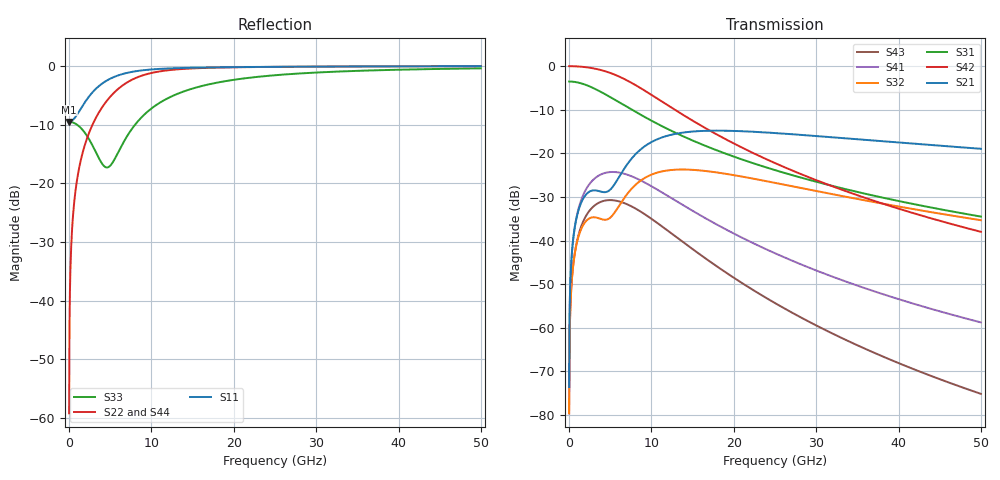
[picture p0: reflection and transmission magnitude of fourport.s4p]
! Created Wed May 30 18:34:37 2007
# hz S ri R 50
! 4 Port Network Data from SP1.SP block
! freq  reS11  imS11  reS12  imS12  reS13  imS13  reS14  imS14
!  reS21  imS21  reS22  imS22  reS23  imS23  reS24  imS24
!  reS31  imS31  reS32  imS32  reS33  imS33  reS34  imS34
!  reS41  imS41  reS42  imS42  reS43  imS43  reS44  imS44
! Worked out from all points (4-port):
!   1001 points, 10 MHz to 50 GHz, reference 50 ohm
!   strongest paths, dB at 10 MHz, 12.51 GHz, 25.01 GHz, 37.51 GHz, 50 GHz:
!     S21: -73.6, -15.7, -15.3, -17.1, -18.9
!     S42: 0.0, -9.6, -22.2, -31.2, -38.0
!     S31: -3.5, -14.9, -23.8, -29.9, -34.5
!     S32: -79.6, -23.8, -26.8, -31.3, -35.3
!     S41: -73.6, -30.3, -42.9, -51.9, -58.8
!     S43: -79.6, -38.5, -54.3, -66.1, -75.1
!   lowest |S11| = -9.5 dB at 10 MHz (marker M1), VSWR 2.00, Z = 100 - j0.628 ohm
!   |S11| at or under -10 dB: nowhere
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1e7  0.3333 -0.00279  6.69e-07 0.000209  0.6667 -0.00182  9.32e-07 0.000209
     6.69e-07 0.000209  -4.4e-06 -0.0011  4e-07 0.000105  1 -0.00236
     0.6667 -0.00182  4e-07 0.000105  0.3333 -0.000489  5.32e-07 0.000105
     9.32e-07 0.000209  1 -0.00236  5.32e-07 0.000105  -8.47e-07 -0.0011
4.6e8  0.3213 -0.1273  0.00139 0.00941  0.6583 -0.0827  0.00195 0.00938
       0.00139 0.00941  -0.00926 -0.0497  0.000829 0.00468  0.9928 -0.108
       0.6583 -0.0827  0.000829 0.00468  0.3285 -0.0219  0.00111 0.00466
       0.00195 0.00938  0.9928 -0.108  0.00111 0.00466  -0.00179 -0.0505
1.41e9  0.2283 -0.3636  0.011 0.0239  0.5934 -0.2344  0.0163 0.0228
        0.011 0.0239  -0.0829 -0.1315  0.0065 0.0114  0.9333 -0.3221
        0.5934 -0.2344  0.0065 0.0114  0.2919 -0.0545  0.00909 0.0106
        0.0163 0.0228  0.9333 -0.3221  0.00909 0.0106  -0.0168 -0.154
6.76e9  -0.5755 -0.6407  0.015 0.0665  0.0645 -0.3478  0.0324 -0.0484
        0.015 0.0665  -0.4021 0.5741  0.0183 0.0254  0.00506 -0.7086
        0.0645 -0.3478  0.0183 0.0254  0.1176 0.2009  0.00504 -0.0263
        0.0324 -0.0484  0.00506 -0.7086  0.00504 -0.0263  -0.3881 -0.5852
1.741e10  -0.914 -0.3249  0.1781 0.0379  -0.0613 -0.0954  -0.015 -0.00644
          0.1781 0.0379  0.9636 -0.000319  0.05 -0.0357  -0.1722 -0.0343
          -0.0613 -0.0954  0.05 -0.0357  0.5071 0.4915  -0.00501 0.00226
          -0.015 -0.00644  -0.1722 -0.0343  -0.00501 0.00226  -0.9089 -0.3777
2.966e10  -0.9642 -0.201  0.1462 -0.0624  -0.0379 -0.0299  -0.00449 0.00136
          0.1462 -0.0624  0.5013 -0.8473  0.00334 -0.0374  -0.0467 0.02
          -0.0379 -0.0299  0.00334 -0.0374  0.766 0.4212  -0.000219 0.00109
          -0.00449 0.00136  -0.0467 0.02  -0.000219 0.00109  -0.9744 -0.2188
5e10  -0.9855 -0.1235  0.0757 -0.0839  -0.0172 -0.00778  -0.000826 0.000806
      0.0757 -0.0839  -0.2304 -0.9661  -0.00865 -0.0148  -0.00848 0.00934
      -0.0172 -0.00778  -0.00865 -0.0148  0.9061 0.2912  7.85e-05 0.000157
      -0.000826 0.000806  -0.00848 0.00934  7.85e-05 0.000157  -0.9917 -0.1282
